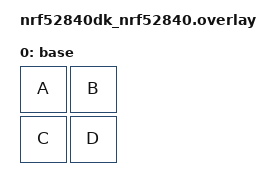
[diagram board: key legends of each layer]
#include <behaviors.dtsi>
#include <dt-bindings/zmk/keys.h>
#include <dt-bindings/zmk/matrix_transform.h>

/ {
    chosen {
        zmk,kscan = &kscan0;
        zmk,matrix-transform = &layout_grid_transform;
    };

    keymap {
    compatible = "zmk,keymap";
        layer_1 {
            label = "base";
            bindings = <
                &kp A &kp B
                &kp C &kp D
            >;
        };
    };

    kscan0: kscan {
        compatible = "zmk,kscan-gpio-direct";
        label = "direct";
        input-gpios
            = <&gpio0 11 (GPIO_PULL_UP | GPIO_ACTIVE_LOW)>,
            <&gpio0 12 (GPIO_PULL_UP | GPIO_ACTIVE_LOW)>,
            <&gpio0 24 (GPIO_PULL_UP | GPIO_ACTIVE_LOW)>,
            <&gpio0 25 (GPIO_PULL_UP | GPIO_ACTIVE_LOW)>
            ;
    };

    sensors: sensors {
        compatible = "zmk,keymap-sensors";
        sensors = <&slider>;
        triggers-per-rotation = <20>;
    };

    layout_grid_transform:
        keymap_transform_0 {
            compatible = "zmk,matrix-transform";
            columns = <2>;
            rows = <2>;
            map = <
            RC(0,0) RC(0,1)
            RC(1,0) RC(1,1)
            >;
    };
};

&i2c0 {
    status = "okay";
    compatible = "nordic,nrf-twim";
    slider: at42qt2120@1c {
        status = "okay";
        compatible = "microchip,at42qt2120";
        reg = <0x1c>;
        change-gpios = <&gpio1 14 GPIO_ACTIVE_LOW>;
    };
};

